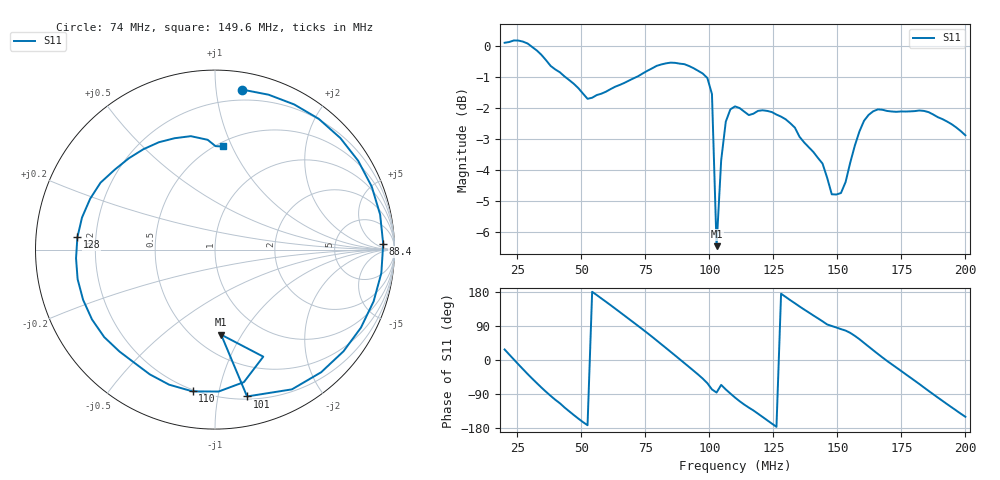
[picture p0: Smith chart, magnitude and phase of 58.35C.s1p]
# HZ S RI R 50
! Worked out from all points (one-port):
!   101 points, 20 MHz to 200 MHz, reference 50 ohm
!   lowest |S11| = -6.5 dB at 102.8 MHz (marker M1), VSWR 2.81, Z = 33.4 - j41 ohm
!   |S11| at or under -10 dB: nowhere
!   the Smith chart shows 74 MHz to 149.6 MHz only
!   S11 on the Smith chart (normalised r, x): 74 MHz: 0.12, +1.18; 88.4 MHz: 24, +13; 101 MHz: 0.22, -1.22; 110 MHz: 0.19, -0.84; 128 MHz: 0.13, +0.04; 149.6 MHz: 0.54, +0.92
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2e7  0.8967 0.4722
2.54e7  1.001 -0.2063
3.26e7  0.476 -0.862
3.8e7  -0.0752 -0.9266
4.34e7  -0.5158 -0.7303
4.88e7  -0.7734 -0.3668
5.42e7  -0.8259 0.000684
6.5e7  -0.5151 0.6966
7.4e7  0.1509 0.8916
8.12e7  0.6984 0.6215
8.84e7  0.9372 0.0318
9.56e7  0.7159 -0.5666
1.01e8  0.1787 -0.8181
1.028e8  0.0343 -0.474
1.046e8  0.269 -0.5965
1.1e8  -0.1253 -0.7899
1.208e8  -0.6854 -0.3892
1.28e8  -0.7667 0.0682
1.334e8  -0.6379 0.3728
1.424e8  -0.2251 0.6205
1.496e8  0.0425 0.5745
1.55e8  0.2037 0.6154
1.604e8  0.5348 0.5372
1.658e8  0.7598 0.2194
1.712e8  0.77 -0.1512
1.784e8  0.547 -0.5631
1.874e8  -0.00235 -0.776
2e8  -0.6209 -0.3608
